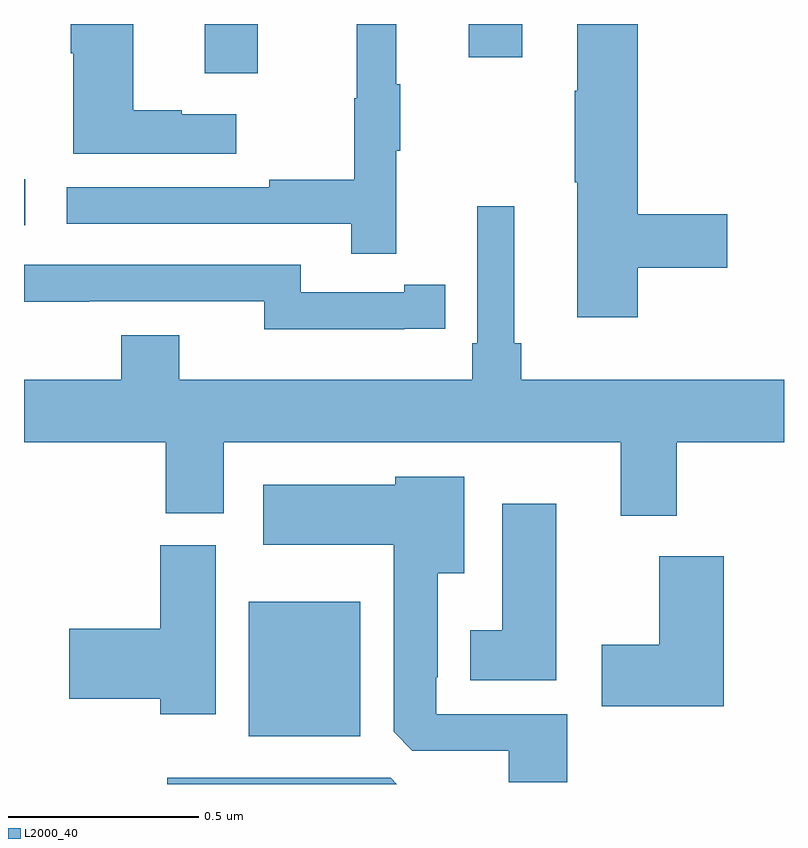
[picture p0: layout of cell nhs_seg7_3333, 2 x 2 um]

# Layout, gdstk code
import gdstk
lib = gdstk.Library(unit=1e-6, precision=1e-09)
def R(c, l, rs):  # rectangles x0, y0, x1, y1
    for r in rs: c.add(gdstk.rectangle(r[:2], r[2:], *l))
def P(c, l, *ps):  # polygons
    for p in ps: c.add(gdstk.Polygon(p, *l))
L2000_40 = (2000, 40)

nhs_seg7_3333 = lib.new_cell('nhs_seg7_3333')
R(nhs_seg7_3333, L2000_40, [(157.592,1049.126,157.885,1049.479), (157,1050.471,157.003,1050.591), (157.475,1050.87,157.615,1051), (158.171,1050.912,158.311,1051)])
P(nhs_seg7_3333, L2000_40, [(158.615,1050.358),(158.851,1050.358),(158.851,1050.5),(158.615,1050.5),(158.615,1051),(158.456,1051),(158.456,1050.824),(158.449,1050.824),(158.449,1050.583),(158.456,1050.583),(158.456,1050.228),(158.615,1050.228)],
  [(157.979,1050.667),(157.99,1050.667),(157.99,1050.841),(157.979,1050.841),(157.979,1051),(157.876,1051),(157.876,1050.804),(157.869,1050.804),(157.869,1050.59),(157.645,1050.59),(157.645,1050.57),(157.113,1050.57),(157.113,1050.474),(157.861,1050.474),(157.861,1050.396),(157.979,1050.396)],
  [(157.558,1050.763),(157.415,1050.763),(157.415,1050.773),(157.288,1050.773),(157.288,1051),(157.123,1051),(157.123,1050.923),(157.13,1050.923),(157.13,1050.659),(157.558,1050.659)],
  [(158.718,1049.9),(159,1049.9),(159,1050.064),(158.309,1050.064),(158.309,1050.16),(158.29,1050.16),(158.29,1050.52),(158.193,1050.52),(158.193,1050.16),(158.18,1050.16),(158.18,1050.064),(157.408,1050.064),(157.408,1050.181),(157.256,1050.181),(157.256,1050.064),(157,1050.064),(157,1049.9),(157.373,1049.9),(157.373,1049.713),(157.525,1049.713),(157.525,1049.9),(158.57,1049.9),(158.57,1049.706),(158.718,1049.706)],
  [(158,1050.198),(158.108,1050.198),(158.108,1050.314),(158,1050.314),(158,1050.294),(157.728,1050.294),(157.728,1050.366),(157,1050.366),(157,1050.269),(157.172,1050.269),(157.172,1050.27),(157.632,1050.27),(157.632,1050.197),(158,1050.197)],
  [(158.429,1049.184),(158.085,1049.184),(158.085,1049.281),(158.089,1049.281),(158.089,1049.555),(158.158,1049.555),(158.158,1049.809),(157.977,1049.809),(157.977,1049.788),(157.629,1049.788),(157.629,1049.63),(157.973,1049.63),(157.973,1049.137),(158.022,1049.088),(158.276,1049.088),(158.276,1049.005),(158.429,1049.005)],
  [(158.401,1049.737),(158.258,1049.737),(158.258,1049.404),(158.174,1049.404),(158.174,1049.273),(158.401,1049.273)],
  [(157.504,1049.628),(157.358,1049.628),(157.358,1049.408),(157.119,1049.408),(157.119,1049.225),(157.358,1049.225),(157.358,1049.184),(157.504,1049.184)],
  [(158.842,1049.599),(158.672,1049.599),(158.672,1049.367),(158.52,1049.367),(158.52,1049.204),(158.842,1049.204)],
  [(157.965,1049.016),(157.377,1049.016),(157.377,1049),(157.981,1049)])

lib.write_gds('nhs_seg7_3333.gds')
